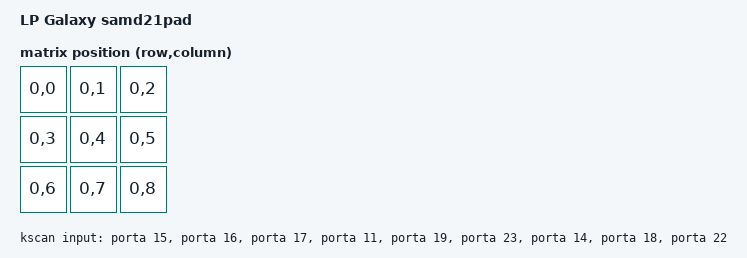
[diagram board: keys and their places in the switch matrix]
/*
 * Copyright (c) 2023 Pete Johanson
 *
 * SPDX-License-Identifier: Apache-2.0
 */

/dts-v1/;
#include <atmel/samd21.dtsi>
#include <atmel/samx2xx18.dtsi>
#include "samd21pad-pinctrl.dtsi"
#include <dt-bindings/zmk/matrix_transform.h>
#include <physical_layouts.dtsi>

/ {
	model = "LP Galaxy samd21pad";
	compatible = "lpgalaxy,samd21pad";

	chosen {
		zephyr,sram = &sram0;
		zephyr,flash = &flash0;
		zephyr,console = &cdc_acm_uart;
		zephyr,code-partition = &code_partition;
	};
	kscan: kscan {
		compatible = "zmk,kscan-gpio-direct";
		
		input-gpios
			= <&porta 15 (GPIO_ACTIVE_LOW | GPIO_PULL_UP)>
			, <&porta 16 (GPIO_ACTIVE_LOW | GPIO_PULL_UP)>
			, <&porta 17 (GPIO_ACTIVE_LOW | GPIO_PULL_UP)>
			, <&porta 11 (GPIO_ACTIVE_LOW | GPIO_PULL_UP)>
			, <&porta 19 (GPIO_ACTIVE_LOW | GPIO_PULL_UP)>
			, <&porta 23 (GPIO_ACTIVE_LOW | GPIO_PULL_UP)>
			, <&porta 14 (GPIO_ACTIVE_LOW | GPIO_PULL_UP)>
			, <&porta 18 (GPIO_ACTIVE_LOW | GPIO_PULL_UP)>
			, <&porta 22 (GPIO_ACTIVE_LOW | GPIO_PULL_UP)>
			;
	};

	transform: transform {
		compatible = "zmk,matrix-transform";

		rows = <3>;
		columns = <3>;

		map = <RC(0,0) RC(0,1) RC(0,2)
		       RC(0,3) RC(0,4) RC(0,5)
		       RC(0,6) RC(0,7) RC(0,8)>;
	};

	phys_layout: phys_layout {
		compatible = "zmk,physical-layout";

		display-name = "Standard";
		transform = <&transform>;
		kscan = <&kscan>;

		keys 
			= <&key_physical_attrs 100 100 100 100 0 0 0>
			, <&key_physical_attrs 100 100 200 100 0 0 0>
			, <&key_physical_attrs 100 100 300 100 0 0 0>
			, <&key_physical_attrs 100 100 100 200 0 0 0>
			, <&key_physical_attrs 100 100 200 200 0 0 0>
			, <&key_physical_attrs 100 100 300 200 0 0 0>
			, <&key_physical_attrs 100 100 100 300 0 0 0>
			, <&key_physical_attrs 100 100 200 300 0 0 0>
			, <&key_physical_attrs 100 100 300 300 0 0 0>
			;
	};
};

&cpu0 {
	clock-frequency = <48000000>;
};

zephyr_udc0: &usb0 {
        status = "okay";

        pinctrl-0 = <&usb_dc_default>;
        pinctrl-names = "default";
};

&flash0 {
	partitions {
		compatible = "fixed-partitions";
		#address-cells = <1>;
		#size-cells = <1>;

		boot_partition: partition@0 {
			reg = <0x00000000 DT_SIZE_K(8)>;
			read-only;
		};

		code_partition: partition@2000 {
			reg = <0x2000 DT_SIZE_K(256-8-16)>;
			read-only;
		};

		/*
		 * The final 16 KiB is reserved for the application.
		 * Storage partition may be used by FCB or LittleFS.
		 */
		storage_partition: partition@3c000 {
			reg = <0x0003c000 DT_SIZE_K(16)>;
		};
	};
};
